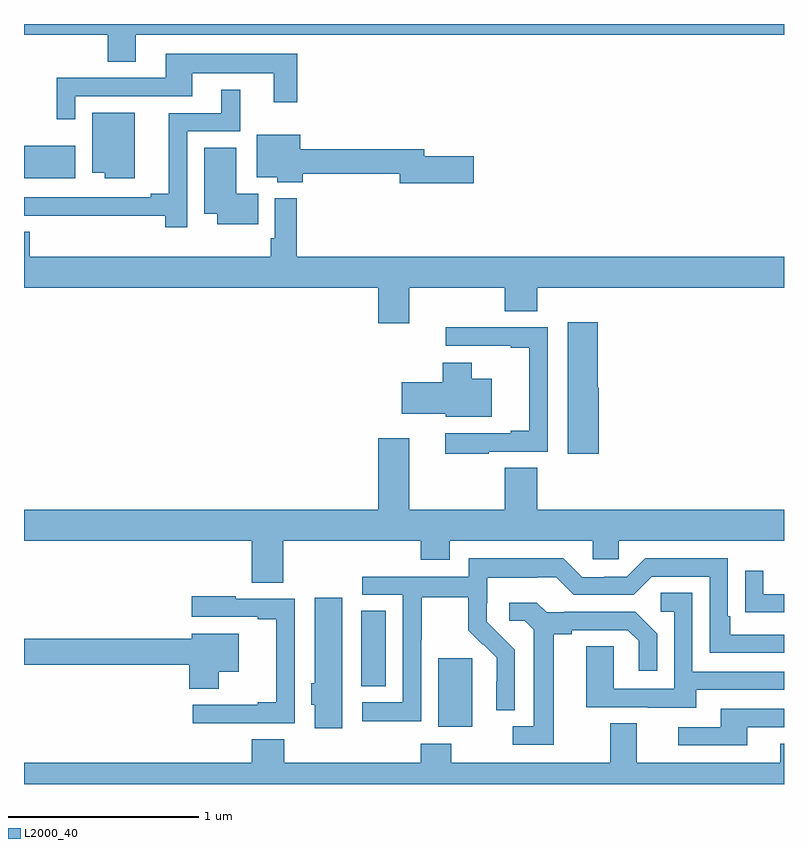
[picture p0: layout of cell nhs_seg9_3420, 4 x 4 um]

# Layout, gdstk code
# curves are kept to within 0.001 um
import gdstk
lib = gdstk.Library(unit=1e-6, precision=1e-09)
def R(c, l, rs):  # rectangles x0, y0, x1, y1
    for r in rs: c.add(gdstk.rectangle(r[:2], r[2:], *l))
def P(c, l, *ps):  # polygons
    for p in ps: c.add(gdstk.Polygon(p, *l))
L2000_40 = (2000, 40)

nhs_seg9_3420 = lib.new_cell('nhs_seg9_3420')
R(nhs_seg9_3420, L2000_40, [(309.179,1168.802,309.358,1169.163), (308.774,1169.014,308.905,1169.411), (307,1171.688,307.27,1171.858)])
P(nhs_seg9_3420, L2000_40, [(307.588,1172.444),(311,1172.444),(311,1172.5),(307,1172.5),(307,1172.444),(307.441,1172.444),(307.441,1172.302),(307.588,1172.302)],
  [(307.269,1172.121),(307.885,1172.121),(307.885,1172.24),(308.315,1172.24),(308.315,1172.088),(308.437,1172.088),(308.437,1172.344),(307.745,1172.344),(307.745,1172.217),(307.172,1172.217),(307.172,1171.998),(307.269,1171.998)],
  [(307.86,1171.935),(308.137,1171.935),(308.137,1172.155),(308.039,1172.155),(308.039,1172.031),(307.763,1172.031),(307.763,1171.607),(307.667,1171.607),(307.667,1171.587),(307,1171.587),(307,1171.491),(307.114,1171.491),(307.114,1171.49),(307.744,1171.49),(307.744,1171.431),(307.86,1171.431)],
  [(307.582,1172.032),(307.358,1172.032),(307.358,1171.718),(307.424,1171.718),(307.424,1171.688),(307.582,1171.688)],
  [(309.367,1171.805),(309.106,1171.805),(309.106,1171.841),(308.455,1171.841),(308.455,1171.918),(308.225,1171.918),(308.225,1171.694),(308.334,1171.694),(308.334,1171.667),(308.468,1171.667),(308.468,1171.713),(308.978,1171.713),(308.978,1171.663),(309.367,1171.663)],
  [(308.234,1171.606),(308.116,1171.606),(308.116,1171.85),(307.949,1171.85),(307.949,1171.502),(308.018,1171.502),(308.018,1171.445),(308.234,1171.445)],
  [(308.864,1170.924),(309.028,1170.924),(309.028,1171.112),(309.53,1171.112),(309.53,1170.988),(309.701,1170.988),(309.701,1171.112),(311,1171.112),(311,1171.276),(308.435,1171.276),(308.435,1171.582),(308.319,1171.582),(308.319,1171.372),(308.299,1171.372),(308.299,1171.276),(307.031,1171.276),(307.031,1171.406),(307,1171.406),(307,1171.112),(308.864,1171.112)],
  [(310.024,1170.585),(310.019,1170.585),(310.019,1170.931),(309.863,1170.931),(309.863,1170.237),(310.024,1170.237)],
  [(309.446,1170.249),(309.756,1170.249),(309.756,1170.903),(309.446,1170.903),(309.446,1170.905),(309.219,1170.905),(309.219,1170.807),(309.563,1170.807),(309.563,1170.795),(309.659,1170.795),(309.659,1170.358),(309.563,1170.358),(309.563,1170.345),(309.216,1170.345),(309.216,1170.237),(309.446,1170.237)],
  [(309.463,1170.634),(309.357,1170.634),(309.357,1170.718),(309.203,1170.718),(309.203,1170.615),(308.988,1170.615),(308.988,1170.449),(309.219,1170.449),(309.219,1170.434),(309.463,1170.434)],
  [(308.364,1169.78),(309.089,1169.78),(309.089,1169.681),(309.241,1169.681),(309.241,1169.78),(309.993,1169.78),(309.993,1169.682),(310.131,1169.682),(310.131,1169.78),(311,1169.78),(311,1169.944),(309.701,1169.944),(309.701,1170.164),(309.53,1170.164),(309.53,1169.944),(309.028,1169.944),(309.028,1170.319),(308.864,1170.319),(308.864,1169.944),(307,1169.944),(307,1169.78),(308.198,1169.78),(308.198,1169.56),(308.364,1169.56)],
  [(309.09,1169.26),(309.093,1169.26),(309.093,1169.484),(309.337,1169.484),(309.337,1169.309),(309.414,1169.232),(309.417,1169.235),(309.488,1169.165),(309.488,1169.042),(309.486,1169.042),(309.486,1168.888),(309.582,1168.888),(309.582,1169.206),(309.436,1169.354),(309.436,1169.451),(309.438,1169.451),(309.438,1169.585),(309.701,1169.585),(309.701,1169.589),(309.801,1169.589),(309.894,1169.496),(310.209,1169.496),(310.305,1169.592),(310.608,1169.592),(310.608,1169.19),(311,1169.19),(311,1169.286),(310.717,1169.286),(310.717,1169.383),(310.704,1169.383),(310.704,1169.688),(310.269,1169.688),(310.173,1169.592),(310.055,1169.592),(310.055,1169.589),(309.939,1169.589),(309.839,1169.689),(309.342,1169.689),(309.342,1169.592),(308.781,1169.592),(308.781,1169.496),(308.994,1169.496),(308.994,1168.929),(308.781,1168.929),(308.781,1168.831),(309.09,1168.831)],
  [(311,1169.499),(310.891,1169.499),(310.891,1169.623),(310.795,1169.623),(310.795,1169.404),(310.897,1169.404),(310.897,1169.403),(311,1169.403)],
  [(310.537,1168.995),(311,1168.995),(311,1169.091),(310.518,1169.091),(310.518,1169.507),(310.35,1169.507),(310.35,1169.406),(310.422,1169.406),(310.422,1169.001),(310.104,1169.001),(310.104,1169.225),(309.959,1169.225),(309.959,1168.905),(310.283,1168.905),(310.283,1168.901),(310.537,1168.901)],
  [(308.114,1168.821),(308.424,1168.821),(308.424,1169.475),(308.114,1169.475),(308.114,1169.488),(307.884,1169.488),(307.884,1169.379),(308.231,1169.379),(308.231,1169.367),(308.327,1169.367),(308.327,1168.93),(308.231,1168.93),(308.231,1168.917),(307.887,1168.917),(307.887,1168.82),(308.114,1168.82)],
  [(308.674,1169.479),(308.531,1169.479),(308.531,1169.031),(308.513,1169.031),(308.513,1168.917),(308.531,1168.917),(308.531,1168.794),(308.674,1168.794)],
  [(309.787,1169.288),(309.883,1169.288),(309.883,1169.31),(310.178,1169.31),(310.235,1169.253),(310.235,1169.097),(310.332,1169.097),(310.332,1169.29),(310.216,1169.406),(309.844,1169.406),(309.844,1169.403),(309.75,1169.403),(309.698,1169.455),(309.555,1169.455),(309.555,1169.358),(309.636,1169.358),(309.683,1169.311),(309.683,1168.803),(309.573,1168.803),(309.573,1168.707),(309.787,1168.707)],
  [(308.025,1169.09),(308.131,1169.09),(308.131,1169.29),(307.883,1169.29),(307.883,1169.264),(307,1169.264),(307,1169.128),(307.871,1169.128),(307.871,1169.002),(308.025,1169.002)],
  [(310.807,1168.8),(311,1168.8),(311,1168.896),(310.667,1168.896),(310.667,1168.8),(310.443,1168.8),(310.443,1168.704),(310.807,1168.704)],
  [(311,1168.711),(310.979,1168.711),(310.979,1168.612),(310.225,1168.612),(310.225,1168.82),(310.085,1168.82),(310.085,1168.612),(309.249,1168.612),(309.249,1168.711),(309.089,1168.711),(309.089,1168.612),(308.369,1168.612),(308.369,1168.736),(308.198,1168.736),(308.198,1168.612),(307,1168.612),(307,1168.5),(311,1168.5)])

lib.write_gds('nhs_seg9_3420.gds')
